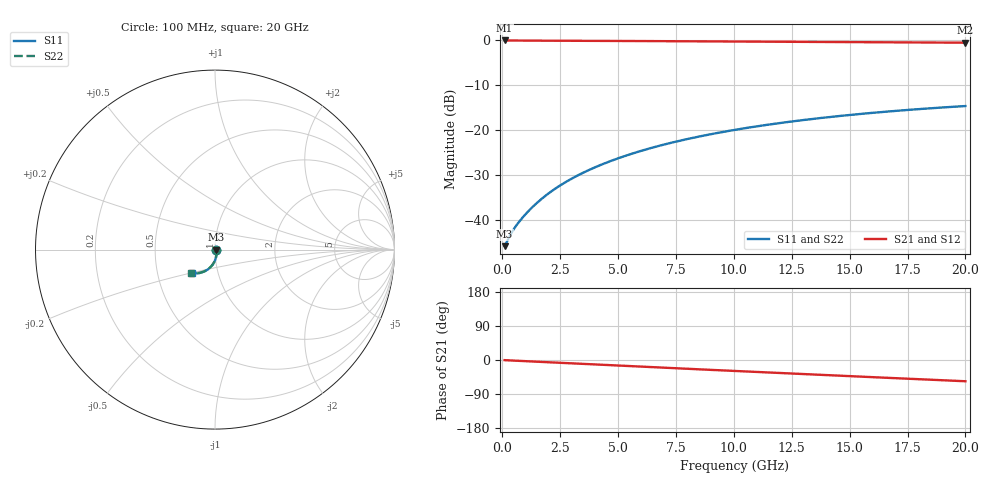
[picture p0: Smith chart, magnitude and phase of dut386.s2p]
! Touchstone file exported from HFSS 2026.1.0
!  File:  C:/ffzhzh/LocalFiles/Ansys_Project_Files/temp_train_BSMRDL_386_1783012057_46388.aedt
!  Generated:  01:09:28 AM Jul  3, 2026
!  Design:  BSMRDL
!  Project:  temp_train_BSMRDL_386_1783012057_46388
! Variables:
!  h_bsmrdl = 4.07um
!  h_ox = 20um
!  h_rdl = 5um
!  h_sub = 80um
!  h_tmrdl = 5um
!  h_tsv = 80um
!  h_via = 3um
!  l_bsmrdl = 994.17um
!  l_sub = 1394.17um
!  l_tmrdl = 200um
!  m_sub = 200um
!  pitch = 20.34um
!  r_tsv = 6um
!  s_tmrdl = 10um
!  w_bsmrdl = 18.04um
!  w_sub = 500um
!  w_tmrdl = 12um
!  x_tsv_center1 = 206um
!  x_tsv_center2 = 1218.21um
!  x_tsv_center3 = 1430.21um
!  x_tsv_center4 = 2442.42um
!  x_tsv_center5 = 2654.42um
!  x_tsv_center6 = 3666.63um
# GHz S MA R 50.000000
! Terminal data exported
! Port[1] = BSM_RDL1_1_T1
! Port[2] = BSM_RDL1_1_T2
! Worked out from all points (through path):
!   200 points, 100 MHz to 20 GHz, reference 50 ohm
!   highest |S21| = -0.04 dB at 100 MHz (marker M1); lowest = -0.5 dB at 20 GHz (marker M2)
!   group delay of S21, straight-line fit = 7.76 ps
!   lowest |S11| = -45.9 dB at 100 MHz (marker M3), VSWR 1.01, Z = 50.5 + j0.0158 ohm
!   |S11| at or under -10 dB: start of sweep to end of sweep
!   |S22| runs from -45.9 to -14.7 dB; largest |S21 - S12| = 1.3e-13
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0.1  0.005083 1.8  0.9949 -0.4  0.9949 -0.4  0.005083 1.8
! Gamma 0 0 0 0
! Port Impedance 50 0 50 0
0.4  0.007172 -9.9  0.9929 -1.3  0.9929 -1.3  0.007171 -9.9
0.6  0.008609 -21.8  0.992 -1.9  0.992 -1.9  0.008606 -21.8
0.8  0.01004 -31.9  0.9913 -2.5  0.9913 -2.5  0.01003 -31.9
1  0.01151 -40.0  0.9909 -3.1  0.9909 -3.1  0.0115 -40.1
1.4  0.01464 -51.9  0.9901 -4.2  0.9901 -4.2  0.01463 -51.9
1.8  0.01797 -59.9  0.9895 -5.4  0.9895 -5.4  0.01795 -59.9
2.3  0.02235 -66.8  0.9886 -6.9  0.9886 -6.9  0.02232 -66.9
2.9  0.02783 -72.6  0.9874 -8.6  0.9874 -8.6  0.0278 -72.7
3.5  0.03352 -77.0  0.9862 -10.4  0.9862 -10.4  0.03348 -77.1
4.2  0.04036 -81.1  0.9845 -12.4  0.9845 -12.4  0.04031 -81.2
5  0.04839 -85.0  0.9825 -14.7  0.9825 -14.7  0.04833 -85.2
5.9  0.05762 -88.9  0.9801 -17.3  0.9801 -17.3  0.05753 -89.1
6.8  0.06696 -92.5  0.9776 -19.8  0.9776 -19.8  0.06685 -92.7
7.6  0.07529 -95.5  0.9753 -22.1  0.9753 -22.1  0.07517 -95.8
8.4  0.0836 -98.4  0.973 -24.4  0.973 -24.4  0.08346 -98.7
10.1  0.101 -104.3  0.9682 -29.1  0.9682 -29.1  0.1008 -104.7
11.7  0.1168 -109.6  0.9636 -33.5  0.9636 -33.5  0.1166 -110.0
13.4  0.1329 -115.1  0.9586 -38.2  0.9586 -38.2  0.1326 -115.5
15  0.1471 -120.0  0.954 -42.6  0.954 -42.6  0.1468 -120.5
16.7  0.1612 -125.1  0.949 -47.2  0.949 -47.2  0.1608 -125.7
20  0.1851 -134.7  0.9395 -56.1  0.9395 -56.1  0.1846 -135.4
